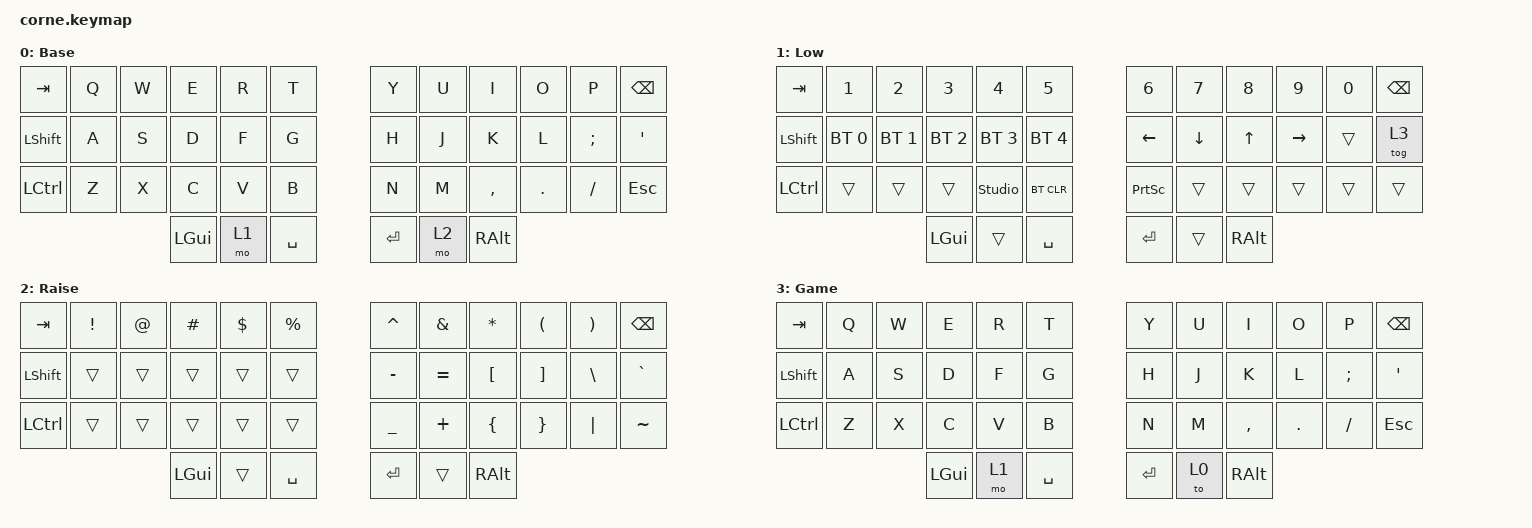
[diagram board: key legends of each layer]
/*
 * Copyright (c) 2020 The ZMK Contributors
 *
 * SPDX-License-Identifier: MIT
 */

#include <behaviors.dtsi>
#include <dt-bindings/zmk/bt.h>
#include <dt-bindings/zmk/keys.h>

/ {
    behaviors {
        hm: hm {
            compatible = "zmk,behavior-hold-tap";
            label = "Homerow Mods";
            #binding-cells = <2>;
            tapping-term-ms = <250>;
            quick-tap-ms = <175>;
            require-prior-idle-ms = <120>;
            flavor = "tap-preferred";
            bindings = <&kp>, <&kp>;
        };
    };

    keymap {
        compatible = "zmk,keymap";

        default_layer {
            // -----------------------------------------------------------------------------------------
            // |  TAB |  Q  |  W  |  E  |  R  |  T  |   |  Y  |  U   |  I  |  O  |  P  | BSPC |
            // | CTRL |  A  |  S  |  D  |  F  |  G  |   |  H  |  J   |  K  |  L  |  ;  |  '   |
            // | SHFT |  Z  |  X  |  C  |  V  |  B  |   |  N  |  M   |  ,  |  .  |  /  | ESC  |
            //                    | GUI | LWR | SPC |   | ENT | RSE  | ALT |

            bindings = <
&kp TAB    &kp Q  &kp W  &kp E     &kp R  &kp T        &kp Y    &kp U  &kp I      &kp O    &kp P     &kp BSPC
&kp LSHFT  &kp A  &kp S  &kp D     &kp F  &kp G        &kp H    &kp J  &kp K      &kp L    &kp SEMI  &kp SQT
&kp LCTRL  &kp Z  &kp X  &kp C     &kp V  &kp B        &kp N    &kp M  &kp COMMA  &kp DOT  &kp FSLH  &kp ESC
                         &kp LGUI  &mo 1  &kp SPACE    &kp RET  &mo 2  &kp RALT
            >;

            label = "Base";
            display-name = "Base";
        };

        lower_layer {
            // -----------------------------------------------------------------------------------------
            // |  TAB |  1  |  2  |  3  |  4  |  5  |   |  6  |  7  |  8  |  9  |  0  | BSPC |
            // | BTCLR| BT1 | BT2 | BT3 | BT4 | BT5 |   | LFT | DWN |  UP | RGT |     |      |
            // | SHFT |     |     |     |     |     |   |     |     |     |     |     |      |
            //                    | GUI |     | SPC |   | ENT |     | ALT |

            bindings = <
&kp TAB    &kp N1        &kp N2        &kp N3        &kp N4          &kp N5          &kp N6           &kp N7    &kp N8    &kp N9     &kp N0  &kp BSPC
&kp LSHFT  &bt BT_SEL 0  &bt BT_SEL 1  &bt BT_SEL 2  &bt BT_SEL 3    &bt BT_SEL 4    &kp LEFT         &kp DOWN  &kp UP    &kp RIGHT  &trans  &tog 3
&kp LCTRL  &trans        &trans        &trans        &studio_unlock  &bt BT_CLR      &kp PRINTSCREEN  &trans    &trans    &trans     &trans  &trans
                                       &kp LGUI      &trans          &kp SPACE       &kp RET          &trans    &kp RALT
            >;

            label = "Low";
            display-name = "Low";
        };

        raise_layer {
            // -----------------------------------------------------------------------------------------
            // |  TAB |  !  |  @  |  #  |  $  |  %  |   |  ^  |  &  |  *  |  (  |  )  | BSPC |
            // | CTRL |     |     |     |     |     |   |  -  |  =  |  [  |  ]  |  \  |  `   |
            // | SHFT |     |     |     |     |     |   |  _  |  +  |  {  |  }  | "|" |  ~   |
            //                    | GUI |     | SPC |   | ENT |     | ALT |

            bindings = <
&kp TAB    &kp EXCL  &kp AT  &kp HASH  &kp DLLR  &kp PRCNT    &kp CARET  &kp AMPS   &kp ASTRK  &kp LPAR  &kp RPAR  &kp BSPC
&kp LSHFT  &trans    &trans  &trans    &trans    &trans       &kp MINUS  &kp EQUAL  &kp LBKT   &kp RBKT  &kp BSLH  &kp GRAVE
&kp LCTRL  &trans    &trans  &trans    &trans    &trans       &kp UNDER  &kp PLUS   &kp LBRC   &kp RBRC  &kp PIPE  &kp TILDE
                             &kp LGUI  &trans    &kp SPACE    &kp RET    &trans     &kp RALT
            >;

            label = "Raise";
            display-name = "Raise";
        };

        gaming {
            bindings = <
&kp TAB    &kp Q  &kp W  &kp E     &kp R  &kp T        &kp Y    &kp U  &kp I      &kp O    &kp P     &kp BSPC
&kp LSHFT  &kp A  &kp S  &kp D     &kp F  &kp G        &kp H    &kp J  &kp K      &kp L    &kp SEMI  &kp SQT
&kp LCTRL  &kp Z  &kp X  &kp C     &kp V  &kp B        &kp N    &kp M  &kp COMMA  &kp DOT  &kp FSLH  &kp ESC
                         &kp LGUI  &mo 1  &kp SPACE    &kp RET  &to 0  &kp RALT
            >;

            label = "Game";
            display-name = "Game";
        };
    };
};
